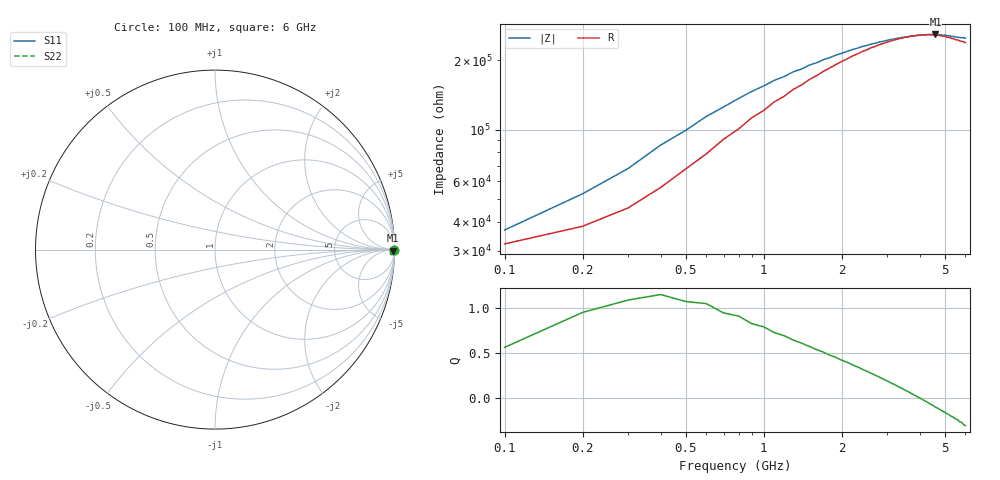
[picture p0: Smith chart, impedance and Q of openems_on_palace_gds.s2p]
#  Hz  S  RI  R  50
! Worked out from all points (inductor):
!   60 points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, 100 MHz to 6 GHz, reference 50 ohm
!   read as one part in series: L = 28.9 uH near 100 MHz
!   highest |Z| = 259 kohm at 4.6 GHz (marker M1)
!   self-resonance near 4 GHz
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1e8  0.9958 -0.0015  0.00235 -0.00133  0.00235 -0.00133  0.9958 -0.0015
2e8  0.9948 -0.00162  0.00136 -0.0013  0.00136 -0.0013  0.9948 -0.00163
3e8  0.9945 -0.00156  0.000984 -0.00108  0.000985 -0.00108  0.9945 -0.00156
4e8  0.9942 -0.00152  0.000756 -0.000875  0.000756 -0.000876  0.9942 -0.00152
6e8  0.9941 -0.00159  0.000598 -0.000632  0.000599 -0.000632  0.9941 -0.00159
7e8  0.994 -0.00167  0.000573 -0.000545  0.000572 -0.000545  0.994 -0.00167
8e8  0.994 -0.00177  0.000536 -0.000491  0.000536 -0.000492  0.994 -0.00177
9e8  0.994 -0.00187  0.000521 -0.000433  0.00052 -0.000433  0.9939 -0.00187
1.1e9  0.9939 -0.0021  0.000489 -0.000358  0.000488 -0.000358  0.9939 -0.0021
1.3e9  0.9938 -0.00235  0.000467 -0.000304  0.000467 -0.000304  0.9938 -0.00235
1.5e9  0.9938 -0.00261  0.000451 -0.000261  0.000451 -0.000262  0.9938 -0.00261
1.7e9  0.9938 -0.00288  0.000439 -0.000226  0.000439 -0.000227  0.9938 -0.00288
2.1e9  0.9937 -0.00341  0.000421 -0.00017  0.000422 -0.00017  0.9937 -0.00341
2.6e9  0.9936 -0.00407  0.000407 -0.000114  0.000407 -0.000114  0.9936 -0.00407
3.1e9  0.9935 -0.00473  0.000398 -6.94e-05  0.000398 -6.93e-05  0.9935 -0.00473
3.5e9  0.9935 -0.00525  0.000392 -3.79e-05  0.000392 -3.8e-05  0.9935 -0.00525
4.1e9  0.9934 -0.00604  0.000385 3.25e-06  0.000386 3.03e-06  0.9934 -0.00604
4.6e9  0.9933 -0.00669  0.000382 3.53e-05  0.000382 3.51e-05  0.9933 -0.00669
5.1e9  0.9933 -0.00734  0.000384 6.35e-05  0.000383 6.41e-05  0.9933 -0.00734
5.8e9  0.9932 -0.00826  0.000384 9.97e-05  0.000385 0.000101  0.9932 -0.00826
5.9e9  0.9932 -0.00839  0.00038 0.000109  0.00038 0.000108  0.9932 -0.00839
6e9  0.9932 -0.00851  0.000382 0.000112  0.000383 0.000115  0.9932 -0.00852
